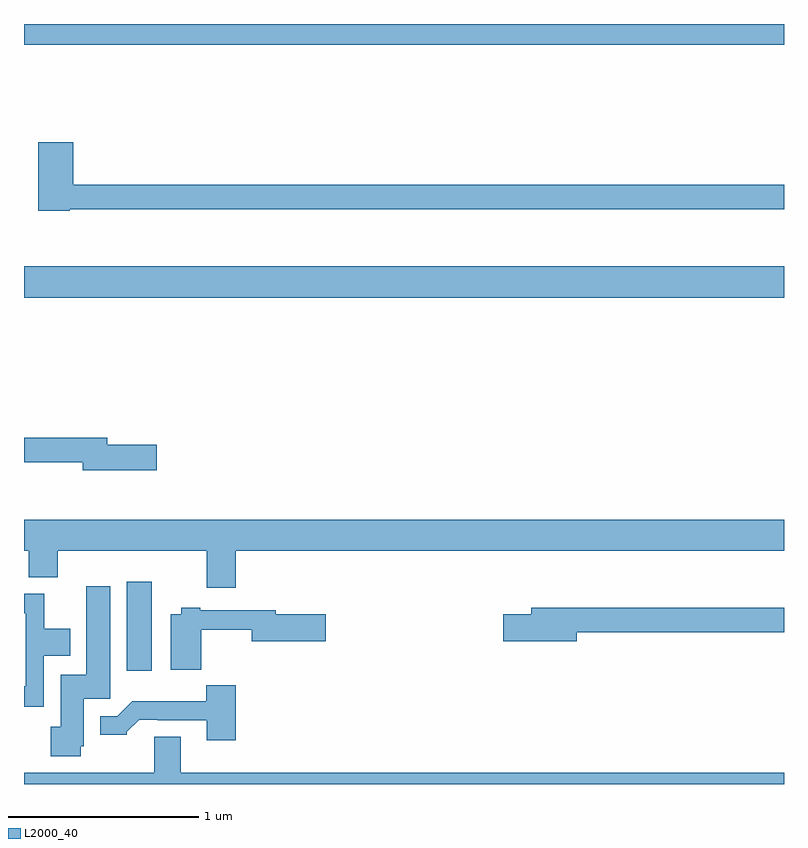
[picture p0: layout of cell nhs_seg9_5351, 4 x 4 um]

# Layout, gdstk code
import gdstk
lib = gdstk.Library(unit=1e-6, precision=1e-09)
def R(c, l, rs):  # rectangles x0, y0, x1, y1
    for r in rs: c.add(gdstk.rectangle(r[:2], r[2:], *l))
def P(c, l, *ps):  # polygons
    for p in ps: c.add(gdstk.Polygon(p, *l))
L2000_40 = (2000, 40)

nhs_seg9_5351 = lib.new_cell('nhs_seg9_5351')
R(nhs_seg9_5351, L2000_40, [(421.541,1221.096,421.672,1221.565), (421,1223.06,425,1223.224), (421,1224.392,425,1224.5)])
P(nhs_seg9_5351, L2000_40, [(421.242,1223.526),(425,1223.526),(425,1223.654),(421.259,1223.654),(421.259,1223.878),(421.076,1223.878),(421.076,1223.518),(421.242,1223.518)],
  [(421.699,1222.286),(421.438,1222.286),(421.438,1222.322),(421,1222.322),(421,1222.194),(421.31,1222.194),(421.31,1222.151),(421.699,1222.151)],
  [(422.114,1221.728),(425,1221.728),(425,1221.892),(421,1221.892),(421,1221.728),(421.025,1221.728),(421.025,1221.587),(421.178,1221.587),(421.178,1221.728),(421.961,1221.728),(421.961,1221.534),(422.114,1221.534)],
  [(421.299,1220.7),(421.315,1220.7),(421.315,1220.949),(421.453,1220.949),(421.453,1221.541),(421.328,1221.541),(421.328,1221.076),(421.193,1221.076),(421.193,1220.802),(421.142,1220.802),(421.142,1220.646),(421.299,1220.646)],
  [(421.104,1221.176),(421.243,1221.176),(421.243,1221.316),(421.107,1221.316),(421.107,1221.502),(421,1221.502),(421,1221.398),(421.008,1221.398),(421.008,1221.015),(421,1221.015),(421,1220.907),(421.104,1220.907)],
  [(423.91,1221.298),(425,1221.298),(425,1221.427),(423.671,1221.427),(423.671,1221.393),(423.522,1221.393),(423.522,1221.251),(423.91,1221.251)],
  [(421.934,1221.313),(422.198,1221.313),(422.198,1221.251),(422.587,1221.251),(422.587,1221.393),(422.326,1221.393),(422.326,1221.414),(421.927,1221.414),(421.927,1221.427),(421.827,1221.427),(421.827,1221.394),(421.772,1221.394),(421.772,1221.101),(421.934,1221.101)],
  [(422.114,1221.019),(421.959,1221.019),(421.959,1220.935),(421.57,1220.935),(421.491,1220.856),(421.4,1220.856),(421.4,1220.759),(421.542,1220.759),(421.542,1220.774),(421.606,1220.838),(421.705,1220.838),(421.705,1220.835),(421.961,1220.835),(421.961,1220.73),(422.114,1220.73)],
  [(425,1220.56),(421.825,1220.56),(421.825,1220.75),(421.685,1220.75),(421.685,1220.56),(421,1220.56),(421,1220.5),(425,1220.5)])

lib.write_gds('nhs_seg9_5351.gds')
